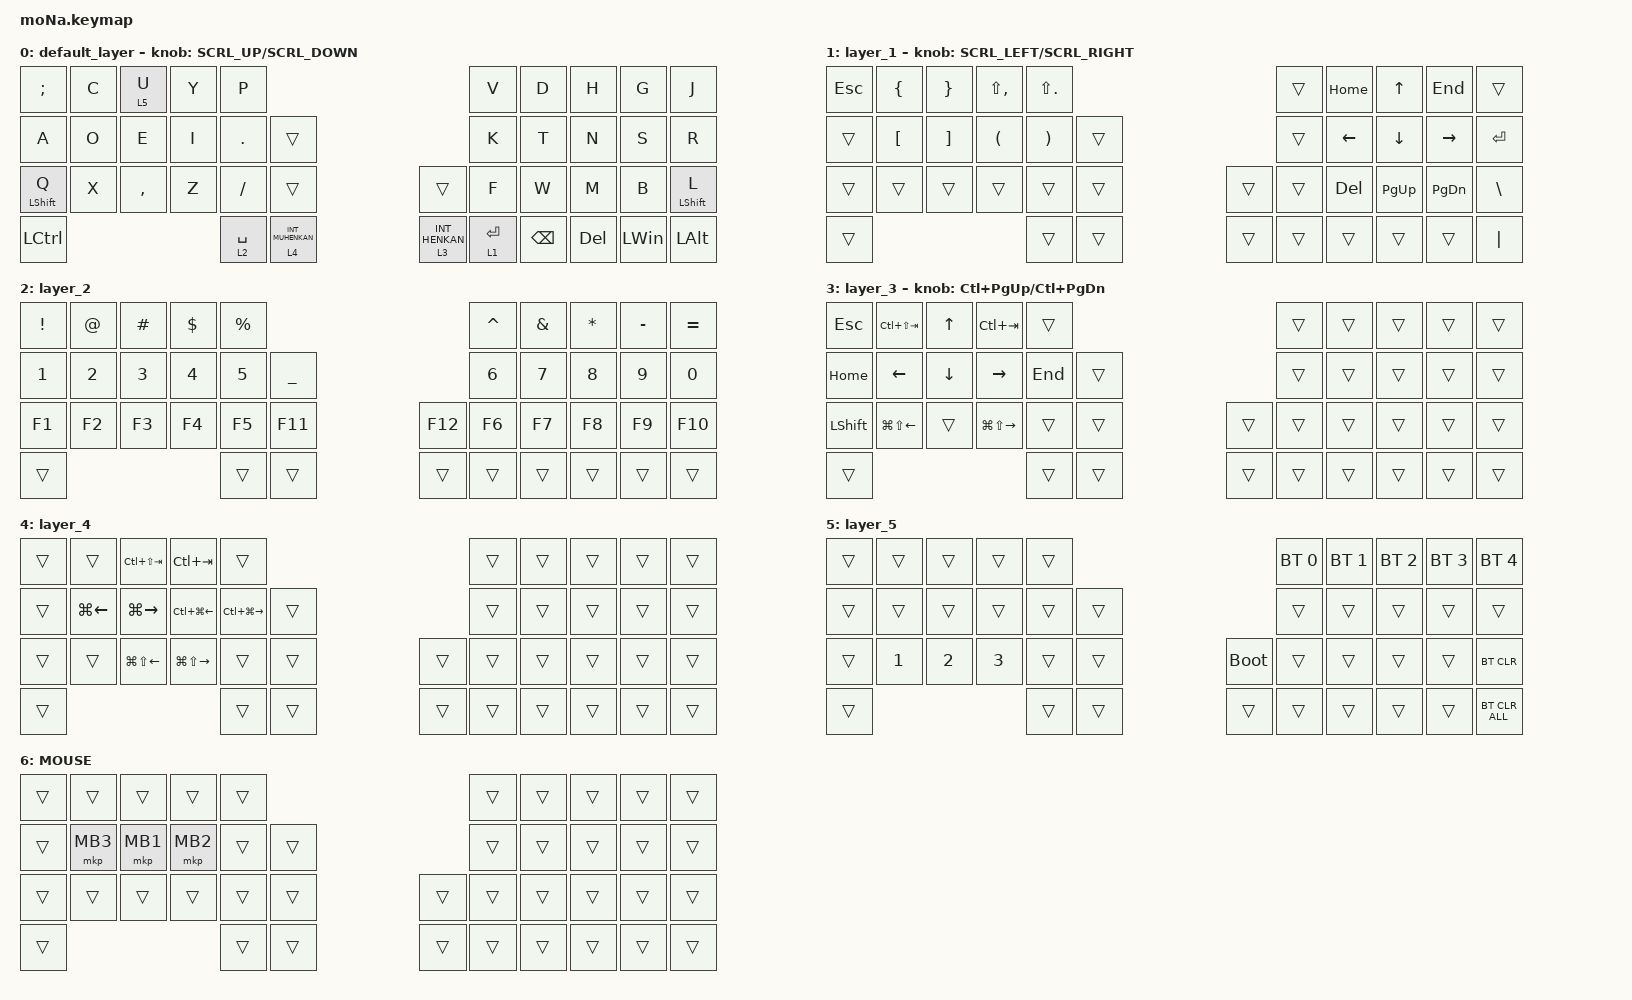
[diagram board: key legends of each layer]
#include <behaviors/rgbled_widget.dtsi>  // led制御
#include <behaviors.dtsi>
#include <dt-bindings/zmk/bt.h>
#include <dt-bindings/zmk/keys.h>
#include <dt-bindings/zmk/mouse.h>

#define ZMK_MOUSE_DEFAULT_SCRL_VAL 100   //スクロール量
#define MOUSE 6

//modtapの設定

&mt {
    flavor = "balanced";
    quick-tap-ms = <0>;
};

/ {
    //コンボ設定

    combos {
        compatible = "zmk,combos";

        tab {
            bindings = <&kp TAB>;   //押したとき実行されるコマンド
            key-positions = <11 12>;    //押すキーの位置
        };

        shift_tab {
            bindings = <&kp LS(TAB)>;
            key-positions = <12 13>;
        };

        muhennkann {
            bindings = <&to_layer_0 INT_MUHENKAN>;
            key-positions = <11 10>;
        };

        double_quotation {
            bindings = <&kp DOUBLE_QUOTES>;
            key-positions = <20 21>;
        };

        eq {
            bindings = <&kp EQUAL>;
            key-positions = <24 25>;
        };
    };

    //マクロ(既存のキーの組み合わせ)

    macros {
        to_layer_0: to_layer_0 {
            compatible = "zmk,behavior-macro-one-param";
            #binding-cells = <1>;
            bindings = <&to 0 &macro_param_1to1 &kp MACRO_PLACEHOLDER>; //レイヤー0を有効にして引数を入力
            label = "TO_LAYER_0";
        };
    };

    //新たな動作を定義する

    behaviors {
        lt_to_layer_0: lt_to_layer_0 {
            compatible = "zmk,behavior-hold-tap";
            label = "LAYER_TAP_TO_0";
            bindings = <&mo>, <&to_layer_0>;

            #binding-cells = <2>;
            tapping-term-ms = <200>;
        };

        mouse_scroll: mouse_wheel_scrl{
            compatible = "zmk,behavior-sensor-rotate-var";
            #sensor-binding-cells = <2>;
            bindings = <&msc>, <&msc>;
            // 追加: スクロールのタップ時間を設定 (20ms)
            tap-ms = <20>;
        };

        // hello_world: hello_world {
        //    compatible = "zmk,behavior-send-string";
        //    #binding-cells = <0>;
        //   text = "Hello, world!";
        // };
    };

    //キーマップ設定

    keymap {
        compatible = "zmk,keymap";

        default_layer {
            bindings = <
&kp SEMICOLON     &kp C  &lt 5 U    &kp Y  &kp P                                                                      &kp V        &kp D          &kp H    &kp G         &kp J
&kp A             &kp O  &kp E      &kp I  &kp PERIOD   &trans                                                        &kp K        &kp T          &kp N    &kp S         &kp R
&mt LEFT_SHIFT Q  &kp X  &kp COMMA  &kp Z  &kp SLASH    &trans                           &trans                       &kp F        &kp W          &kp M    &kp B         &mt LEFT_SHIFT L
&kp LCTRL                                  &lt 2 SPACE  &lt_to_layer_0 4 INT_MUHENKAN    &lt_to_layer_0 3 INT_HENKAN  &lt 1 ENTER  &kp BACKSPACE  &kp DEL  &kp LEFT_WIN  &kp LEFT_ALT
            >;

            sensor-bindings = <&mouse_scroll SCRL_UP SCRL_DOWN>;
        };

        layer_1 {
            bindings = <
            &kp ESCAPE  &kp LEFT_BRACE    &kp RIGHT_BRACE    &kp LS(COMMA)         &kp  LS(PERIOD)                          &trans  &kp HOME        &kp UP_ARROW    &kp END          &trans
            &trans      &kp LEFT_BRACKET  &kp RIGHT_BRACKET  &kp LEFT_PARENTHESIS  &kp RIGHT_PARENTHESIS  &trans            &trans  &kp LEFT_ARROW  &kp DOWN_ARROW  &kp RIGHT_ARROW  &kp ENTER
            &trans      &trans            &trans             &trans                &trans                 &trans    &trans  &trans  &kp DEL         &kp PAGE_UP     &kp PAGE_DOWN    &kp BACKSLASH
            &trans                                                                 &trans                 &trans    &trans  &trans  &trans       &trans       &trans        &kp PIPE
            >;

            sensor-bindings = <&mouse_scroll SCRL_LEFT SCRL_RIGHT>;
        };

        layer_2 {
            bindings = <
&kp EXCLAMATION  &kp AT_SIGN   &kp HASH      &kp DOLLAR    &kp PERCENT                              &kp CARET     &kp AMPERSAND  &kp ASTERISK  &kp MINUS     &kp EQUAL
&kp NUMBER_1     &kp NUMBER_2  &kp NUMBER_3  &kp NUMBER_4  &kp NUMBER_5  &kp UNDERSCORE             &kp NUMBER_6  &kp NUMBER_7   &kp NUMBER_8  &kp NUMBER_9  &kp NUMBER_0
&kp F1           &kp F2        &kp F3        &kp F4        &kp F5        &kp F11           &kp F12  &kp F6        &kp F7         &kp F8        &kp F9        &kp F10
&trans                                                     &trans        &trans            &trans   &trans        &trans         &trans        &trans        &trans
            >;
        };

        layer_3 {
            bindings = <
&kp ESCAPE      &kp LC(LS(TAB))         &kp UP_ARROW    &kp LC(TAB)              &trans                     &trans  &trans  &trans  &trans  &trans
&kp HOME        &kp LEFT_ARROW          &kp DOWN_ARROW  &kp RIGHT_ARROW          &kp END  &trans            &trans  &trans  &trans  &trans  &trans
&kp LEFT_SHIFT  &kp LG(LS(LEFT_ARROW))  &trans          &kp LG(LS(RIGHT_ARROW))  &trans   &trans    &trans  &trans  &trans  &trans  &trans  &trans
&trans                                                                           &trans   &trans    &trans  &trans  &trans  &trans  &trans  &trans
            >;

            sensor-bindings = <&inc_dec_kp LC(PAGE_UP) LC(PAGE_DOWN)>;
        };

        layer_4 {
            bindings = <
&trans  &trans              &kp LC(LS(TAB))         &kp LC(TAB)              &trans                                     &trans  &trans  &trans  &trans  &trans
&trans  &kp LG(LEFT_ARROW)  &kp LG(RIGHT_ARROW)     &kp LC(LG(LEFT_ARROW))   &kp LC(LG(RIGHT_ARROW))  &trans            &trans  &trans  &trans  &trans  &trans
&trans  &trans              &kp LG(LS(LEFT_ARROW))  &kp LG(LS(RIGHT_ARROW))  &trans                   &trans    &trans  &trans  &trans  &trans  &trans  &trans
&trans                                                                       &trans                   &trans    &trans  &trans  &trans  &trans  &trans  &trans
            >;
        };

        layer_5 {
            bindings = <
&trans  &trans        &trans        &trans        &trans                         &bt BT_SEL 0  &bt BT_SEL 1  &bt BT_SEL 2  &bt BT_SEL 3  &bt BT_SEL 4
&trans  &trans        &trans        &trans        &trans  &trans                 &trans        &trans        &trans        &trans        &trans
&trans  &kp NUMBER_1  &kp NUMBER_2  &kp NUMBER_3  &trans  &trans    &bootloader  &trans        &trans        &trans        &trans        &bt BT_CLR
&trans                                            &trans  &trans    &trans       &trans        &trans        &trans        &trans        &bt BT_CLR_ALL
            >;
        };

        MOUSE {
            bindings = <
&trans  &trans    &trans    &trans    &trans                    &trans  &trans  &trans  &trans  &trans
&trans  &mkp MB3  &mkp MB1  &mkp MB2  &trans  &trans            &trans  &trans  &trans  &trans  &trans
&trans  &trans    &trans    &trans    &trans  &trans    &trans  &trans  &trans  &trans  &trans  &trans
&trans                                &trans  &trans    &trans  &trans  &trans  &trans  &trans  &trans
            >;
        };
    };
};
